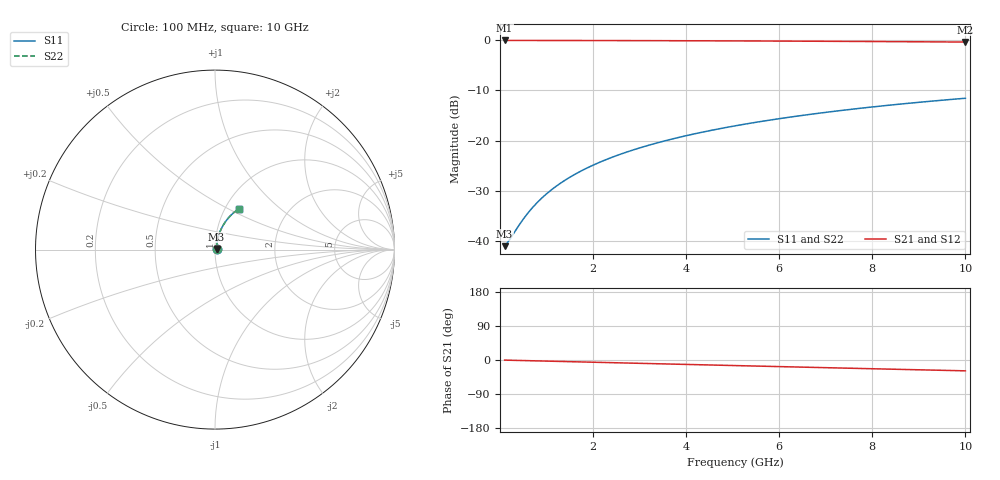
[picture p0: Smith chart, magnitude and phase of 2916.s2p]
# Hz S RI R 50.00
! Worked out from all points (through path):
!   100 points, 100 MHz to 10 GHz, reference 50 ohm
!   highest |S21| = -0.07 dB at 100 MHz (marker M1); lowest = -0.4 dB at 10 GHz (marker M2)
!   group delay of S21, straight-line fit = 7.96 ps
!   lowest |S11| = -41.0 dB at 100 MHz (marker M3), VSWR 1.02, Z = 50.8 + j0.282 ohm
!   |S11| at or under -10 dB: start of sweep to end of sweep
!   |S22| runs from -41.0 to -11.6 dB; largest |S21 - S12| = 0
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1e8  0.00842 0.00277  0.9916 -0.00507  0.9916 -0.00507  0.00842 0.00277
2e8  0.00852 0.00554  0.9915 -0.0101  0.9915 -0.0101  0.00852 0.00554
4e8  0.00876 0.0111  0.9912 -0.0203  0.9912 -0.0203  0.00876 0.0111
5e8  0.00891 0.0138  0.991 -0.0253  0.991 -0.0253  0.00891 0.0138
6e8  0.00909 0.0166  0.9908 -0.0304  0.9908 -0.0304  0.00909 0.0166
7e8  0.0093 0.0194  0.9906 -0.0354  0.9906 -0.0354  0.0093 0.0194
9e8  0.00979 0.0249  0.99 -0.0455  0.99 -0.0455  0.00979 0.0249
1.1e9  0.0104 0.0304  0.9893 -0.0556  0.9893 -0.0556  0.0104 0.0304
1.3e9  0.0111 0.0359  0.9884 -0.0657  0.9884 -0.0657  0.0111 0.0359
1.5e9  0.0119 0.0413  0.9875 -0.0758  0.9875 -0.0758  0.0119 0.0413
1.8e9  0.0133 0.0495  0.9858 -0.0908  0.9858 -0.0908  0.0133 0.0495
2.1e9  0.015 0.0576  0.9838 -0.1058  0.9838 -0.1058  0.015 0.0576
2.5e9  0.0176 0.0683  0.9807 -0.1257  0.9807 -0.1257  0.0176 0.0683
2.9e9  0.0207 0.0789  0.9771 -0.1455  0.9771 -0.1455  0.0207 0.0789
3.4e9  0.025 0.0919  0.9718 -0.17  0.9718 -0.17  0.025 0.0919
4.2e9  0.0334 0.1122  0.9618 -0.2087  0.9618 -0.2087  0.0334 0.1122
5.1e9  0.0446 0.1339  0.9484 -0.2512  0.9484 -0.2512  0.0446 0.1339
5.9e9  0.0561 0.1523  0.9344 -0.2879  0.9344 -0.2879  0.0561 0.1523
6.7e9  0.069 0.1695  0.9188 -0.3236  0.9188 -0.3236  0.069 0.1695
7.5e9  0.0831 0.1855  0.9017 -0.3581  0.9017 -0.3581  0.0831 0.1855
8.4e9  0.1003 0.202  0.8806 -0.3954  0.8806 -0.3954  0.1003 0.202
1e10  0.1336 0.2271  0.8392 -0.4576  0.8392 -0.4576  0.1336 0.2271
